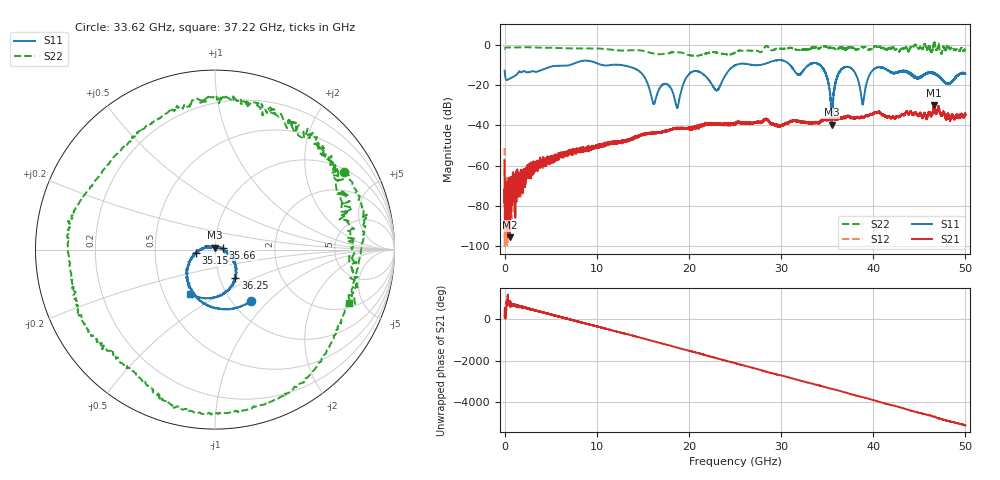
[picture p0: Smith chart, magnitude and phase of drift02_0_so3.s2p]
!Created with skrf (http://scikit-rf.org).
# Hz S RI R 50.0
!freq ReS11 ImS11 ReS21 ImS21 ReS12 ImS12 ReS22 ImS22
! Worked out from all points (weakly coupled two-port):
!   10001 points, 300 kHz to 50 GHz, reference 50 ohm
!   highest |S21| = -30.07 dB at 46.61 GHz (marker M1); lowest = -95.6 dB at 575.3 MHz (marker M2)
!   lowest |S11| = -39.7 dB at 35.49 GHz (marker M3), VSWR 1.02, Z = 49.9 + j1.03 ohm
!   |S11| at or under -10 dB: start of sweep to 7.174 GHz; 12.29 GHz to 25.18 GHz (12.89 GHz wide, 68.8 % of centre); 34.19 GHz to end of sweep (the widest 3 of 17)
!   |S22| runs from -5.7 to 2.0 dB; largest |S21 - S12| = 0.0033
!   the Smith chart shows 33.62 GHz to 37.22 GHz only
!   S11 on the Smith chart (normalised r, x): 33.62 GHz: 1.22, -0.80; 35.15 GHz: 0.81, -0.03; 35.66 GHz: 1.09, +0.02; 36.25 GHz: 1.19, -0.39; 37.22 GHz: 0.68, -0.36
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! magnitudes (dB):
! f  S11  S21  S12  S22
! 300 kHz  -13.0  -57.6  -51.4  -2.1
! 255.3 MHz  -17.6  -75.0  -71.2  -1.4
! 575.3 MHz  -16.9  -95.6  -69.0  -1.5
! 8.335 GHz  -8.2  -53.0  -51.8  -2.0
! 14.01 GHz  -11.7  -46.6  -46.5  -2.8
! 16.67 GHz  -23.1  -43.7  -44.0  -4.8
! 18.73 GHz  -31.3  -41.6  -41.6  -3.8
! 20.24 GHz  -13.8  -41.3  -41.6  -5.4
! 23.03 GHz  -22.8  -39.3  -39.0  -4.0
! 25 GHz  -10.3  -38.7  -39.3  -4.0
! 33.34 GHz  -9.3  -38.7  -38.9  -1.5
! 33.62 GHz  -9.1  -38.9  -38.6  -1.5
! 35.15 GHz  -19.4  -37.4  -37.2  -1.9
! 35.49 GHz  -39.7  -36.8  -36.8  -1.8
! 35.66 GHz  -26.9  -36.7  -36.6  -1.6
! 36.25 GHz  -14.2  -36.6  -36.6  -1.8
! 37.22 GHz  -11.0  -35.5  -35.6  -1.9
! 38.86 GHz  -29.8  -36.0  -36.2  -1.2
! 39.96 GHz  -12.7  -34.2  -34.6  -1.8
! 41.67 GHz  -13.0  -35.6  -35.7  -1.9
! 46.61 GHz  -14.2  -30.1  -30.2  1.9
! 50 GHz  -14.5  -34.9  -34.5  -2.6
